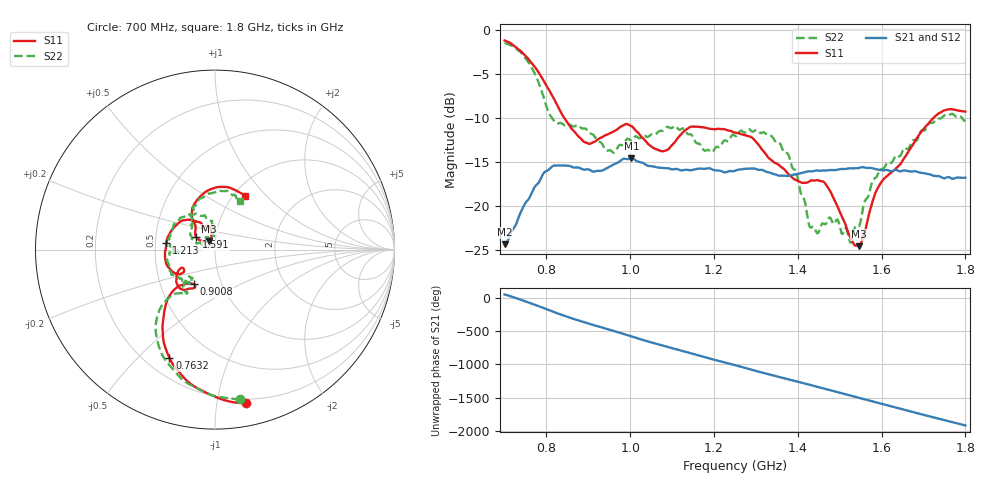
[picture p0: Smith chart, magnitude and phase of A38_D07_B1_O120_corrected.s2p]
! Created with skrf 1.9.0 (http://scikit-rf.org).
# Hz S RI R 50.0
!freq ReS11 ImS11 ReS21 ImS21 ReS12 ImS12 ReS22 ImS22
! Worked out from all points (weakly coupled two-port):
!   1601 points, 700 MHz to 1.8 GHz, reference 50 ohm
!   highest |S21| = -14.58 dB at 1.002 GHz (marker M1); lowest = -24.4 dB at 700.7 MHz (marker M2)
!   lowest |S11| = -24.6 dB at 1.546 GHz (marker M3), VSWR 1.13, Z = 46.6 + j4.56 ohm
!   |S11| at or under -10 dB: 842.3 MHz to 1.724 GHz (881.4 MHz wide, 68.7 % of centre)
!   |S22| runs from -24.2 to -1.5 dB; largest |S21 - S12| = 0.0035
!   S11 on the Smith chart (normalised r, x): 700 MHz: 0.17, -1.21; 763.2 MHz: 0.30, -0.62; 900.8 MHz: 0.74, -0.30; 1.213 GHz: 0.57, +0.05; 1.591 GHz: 0.80, +0.11; 1.8 GHz: 1.12, +0.77
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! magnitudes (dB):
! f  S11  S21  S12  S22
! 700 MHz  -1.2  -24.4  -24.2  -1.5
! 700.7 MHz  -1.2  -24.4  -24.1  -1.5
! 763.2 MHz  -3.7  -18.7  -18.7  -4.1
! 818.2 MHz  -7.9  -15.4  -15.5  -10.4
! 883.6 MHz  -12.4  -15.8  -15.7  -11.2
! 900.8 MHz  -12.9  -15.9  -15.9  -11.6
! 958.5 MHz  -11.6  -15.3  -15.3  -13.9
! 1.002 GHz  -10.9  -14.6  -14.7  -12.6
! 1.067 GHz  -13.7  -15.6  -15.6  -11.6
! 1.143 GHz  -11.0  -16.0  -15.9  -11.9
! 1.213 GHz  -11.2  -16.0  -16.0  -13.3
! 1.25 GHz  -11.7  -16.0  -15.9  -12.0
! 1.357 GHz  -15.5  -16.6  -16.5  -12.9
! 1.396 GHz  -17.1  -16.4  -16.4  -16.1
! 1.434 GHz  -17.1  -16.1  -16.0  -22.4
! 1.467 GHz  -17.6  -16.0  -16.0  -22.0
! 1.526 GHz  -23.6  -15.7  -15.7  -24.2
! 1.546 GHz  -24.6  -15.7  -15.7  -22.3
! 1.591 GHz  -18.0  -15.9  -15.9  -16.4
! 1.617 GHz  -16.4  -16.0  -15.9  -15.1
! 1.731 GHz  -9.7  -16.6  -16.6  -10.2
! 1.8 GHz  -9.3  -16.8  -16.8  -10.3
